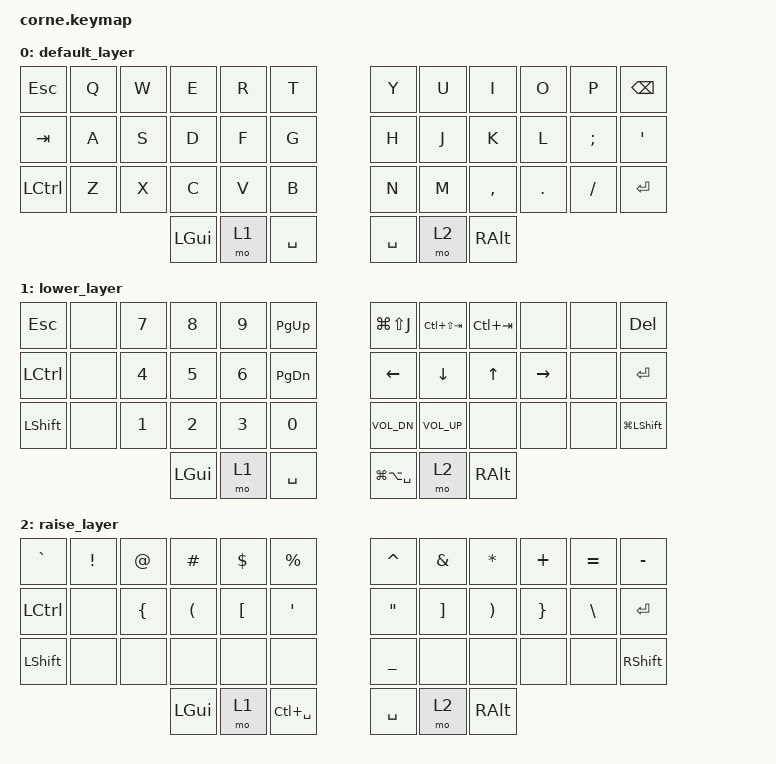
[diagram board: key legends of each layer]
/*
 * Copyright (c) 2020 The ZMK Contributors
 *
 * SPDX-License-Identifier: MIT
 */

#include <behaviors.dtsi>
#include <dt-bindings/zmk/keys.h>

#define LOWER   1
#define RAISE   2

/ {
    keymap {
        compatible = "zmk,keymap";

        default_layer {
            bindings = <
&kp ESCAPE  &kp Q  &kp W  &kp E     &kp R  &kp T        &kp Y      &kp U  &kp I      &kp O    &kp P     &kp BSPC
&kp TAB     &kp A  &kp S  &kp D     &kp F  &kp G        &kp H      &kp J  &kp K      &kp L    &kp SEMI  &kp SINGLE_QUOTE
&kp LCTRL   &kp Z  &kp X  &kp C     &kp V  &kp B        &kp N      &kp M  &kp COMMA  &kp DOT  &kp FSLH  &kp ENTER
                          &kp LGUI  &mo 1  &kp SPACE    &kp SPACE  &mo 2  &kp RALT
            >;
        };

        lower_layer {
            bindings = <
&kp ESC    &none  &kp N7  &kp N8    &kp N9  &kp PAGE_UP      &kp LG(LS(J))      &kp LC(LS(TAB))  &kp LC(TAB)  &none      &none  &kp DELETE
&kp LCTRL  &none  &kp N4  &kp N5    &kp N6  &kp PAGE_DOWN    &kp LEFT           &kp DOWN         &kp UP       &kp RIGHT  &none  &kp RET
&kp LSHFT  &none  &kp N1  &kp N2    &kp N3  &kp N0           &kp C_VOL_DN       &kp C_VOL_UP     &none        &none      &none  &kp LG(LSHFT)
                          &kp LGUI  &mo 1   &kp SPACE        &kp LG(LA(SPACE))  &mo 2            &kp RALT
            >;
        };

        raise_layer {
            bindings = <
&kp GRAVE  &kp EXCL  &kp AT          &kp POUND             &kp DOLLAR        &kp PERCENT      &kp CARET          &kp AMPS           &kp STAR               &kp PLUS         &kp EQUAL      &kp MINUS
&kp LCTRL  &none     &kp LEFT_BRACE  &kp LEFT_PARENTHESIS  &kp LEFT_BRACKET  &kp SQT          &kp DOUBLE_QUOTES  &kp RIGHT_BRACKET  &kp RIGHT_PARENTHESIS  &kp RIGHT_BRACE  &kp BACKSLASH  &kp RET
&kp LSHFT  &none     &none           &none                 &none             &none            &kp UNDER          &none              &none                  &none            &none          &kp RSHFT
                                     &kp LGUI              &mo 1             &kp LC(SPACE)    &kp SPACE          &mo 2              &kp RALT
            >;
        };
    };
};
